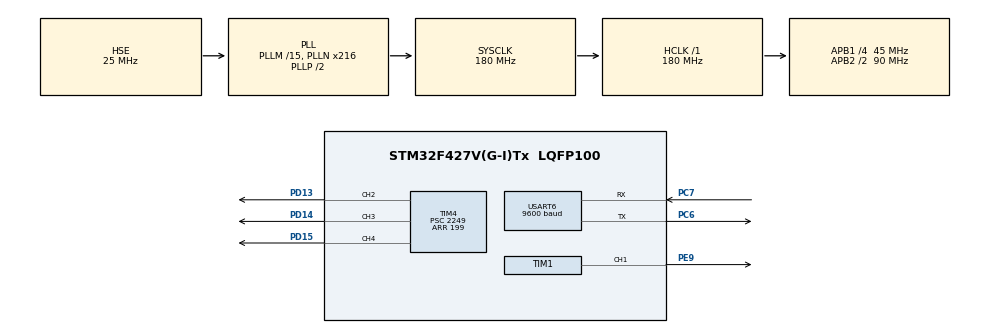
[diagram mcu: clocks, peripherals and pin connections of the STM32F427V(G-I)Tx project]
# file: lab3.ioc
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Mcu.Family=STM32F4
Mcu.Name=STM32F427V(G-I)Tx
Mcu.Package=LQFP100
NVIC.PriorityGroup=NVIC_PRIORITYGROUP_4
NVIC.TIM6_DAC_IRQn=true\:0\:0\:false\:false\:true\:true\:true\:true
NVIC.USART6_IRQn=true\:0\:0\:false\:false\:true\:true\:true\:true
PA13.Mode=JTAG_5_pins
PA13.Signal=SYS_JTMS-SWDIO
PA14.Mode=JTAG_5_pins
PA14.Signal=SYS_JTCK-SWCLK
PA15.Mode=JTAG_5_pins
PA15.Signal=SYS_JTDI
PB3.Mode=JTAG_5_pins
PB3.Signal=SYS_JTDO-SWO
PB4.Mode=JTAG_5_pins
PB4.Signal=SYS_JTRST
PC6.Mode=Asynchronous
PC6.Signal=USART6_TX
PC7.Mode=Asynchronous
PC7.Signal=USART6_RX
PD13.Signal=S_TIM4_CH2
PD14.Signal=S_TIM4_CH3
PD15.Signal=S_TIM4_CH4
PE9.Signal=S_TIM1_CH1
PH0/OSC_IN.Mode=HSE-External-Oscillator
PH0/OSC_IN.Signal=RCC_OSC_IN
PH1/OSC_OUT.Mode=HSE-External-Oscillator
PH1/OSC_OUT.Signal=RCC_OSC_OUT
ProjectManager.HeapSize=0x200
ProjectManager.StackSize=0x400
ProjectManager.TargetToolchain=STM32CubeIDE
RCC.48MHZClocksFreq_Value=90000000
RCC.AHBFreq_Value=180000000
RCC.APB1CLKDivider=RCC_HCLK_DIV4
RCC.APB1Freq_Value=45000000
RCC.APB1TimFreq_Value=90000000
RCC.APB2CLKDivider=RCC_HCLK_DIV2
RCC.APB2Freq_Value=90000000
RCC.APB2TimFreq_Value=180000000
RCC.CortexFreq_Value=180000000
RCC.HCLKFreq_Value=180000000
RCC.HSE_VALUE=25000000
RCC.HSI_VALUE=16000000
RCC.LSE_VALUE=32768
RCC.PLLM=15
RCC.PLLN=216
RCC.PLLSourceVirtual=RCC_PLLSOURCE_HSE
RCC.SYSCLKFreq_VALUE=180000000
RCC.SYSCLKSource=RCC_SYSCLKSOURCE_PLLCLK
RCC.VCOOutputFreq_Value=360000000
SH.S_TIM1_CH1.0=TIM1_CH1,PWM Generation1 CH1
SH.S_TIM4_CH2.0=TIM4_CH2,PWM Generation2 CH2
SH.S_TIM4_CH3.0=TIM4_CH3,PWM Generation3 CH3
SH.S_TIM4_CH4.0=TIM4_CH4,PWM Generation4 CH4
TIM1.Channel-PWM\ Generation1\ CH1=TIM_CHANNEL_1
TIM1.Period=153
TIM1.Prescaler=2249
TIM4.Channel-PWM\ Generation2\ CH2=TIM_CHANNEL_2
TIM4.Channel-PWM\ Generation3\ CH3=TIM_CHANNEL_3
TIM4.Channel-PWM\ Generation4\ CH4=TIM_CHANNEL_4
TIM4.Period=199
TIM4.Prescaler=2249
TIM6.Period=9999
TIM6.Prescaler=8999
USART6.BaudRate=9600
USART6.VirtualMode=VM_ASYNC
VP_TIM6_VS_ClockSourceINT.Mode=Enable_Timer
board=custom

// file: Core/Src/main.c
/* USER CODE BEGIN Header */
/**
  ******************************************************************************
  * @file           : main.c
  * @brief          : Main program body
  ******************************************************************************
  ** This notice applies to any and all portions of this file
  * that are not between comment pairs USER CODE BEGIN and
  * USER CODE END. Other portions of this file, whether
  * inserted by the user or by software development tools
  * are owned by their respective copyright owners.
  *
  * COPYRIGHT(c) 2019 STMicroelectronics
  *
  * Redistribution and use in source and binary forms, with or without modification,
  * are permitted provided that the following conditions are met:
  *   1. Redistributions of source code must retain the above copyright notice,
  *      this list of conditions and the following disclaimer.
  *   2. Redistributions in binary form must reproduce the above copyright notice,
  *      this list of conditions and the following disclaimer in the documentation
  *      and/or other materials provided with the distribution.
  *   3. Neither the name of STMicroelectronics nor the names of its contributors
  *      may be used to endorse or promote products derived from this software
  *      without specific prior written permission.
  *
  * THIS SOFTWARE IS PROVIDED BY THE COPYRIGHT HOLDERS AND CONTRIBUTORS "AS IS"
  * AND ANY EXPRESS OR IMPLIED WARRANTIES, INCLUDING, BUT NOT LIMITED TO, THE
  * IMPLIED WARRANTIES OF MERCHANTABILITY AND FITNESS FOR A PARTICULAR PURPOSE ARE
  * DISCLAIMED. IN NO EVENT SHALL THE COPYRIGHT HOLDER OR CONTRIBUTORS BE LIABLE
  * FOR ANY DIRECT, INDIRECT, INCIDENTAL, SPECIAL, EXEMPLARY, OR CONSEQUENTIAL
  * DAMAGES (INCLUDING, BUT NOT LIMITED TO, PROCUREMENT OF SUBSTITUTE GOODS OR
  * SERVICES; LOSS OF USE, DATA, OR PROFITS; OR BUSINESS INTERRUPTION) HOWEVER
  * CAUSED AND ON ANY THEORY OF LIABILITY, WHETHER IN CONTRACT, STRICT LIABILITY,
  * OR TORT (INCLUDING NEGLIGENCE OR OTHERWISE) ARISING IN ANY WAY OUT OF THE USE
  * OF THIS SOFTWARE, EVEN IF ADVISED OF THE POSSIBILITY OF SUCH DAMAGE.
  *
  ******************************************************************************
  */
/* USER CODE END Header */
#include "main.h"
#include "tim.h"
#include "usart.h"
#include "gpio.h"

/* USER CODE BEGIN Includes */
#include <string.h>
/* USER CODE END Includes */

/* USER CODE BEGIN PM */
#define PASS_LENGTH 8
#define MAX_WRONG_INPUTS 3
#define GREEN_LED_ID 13
#define YELLOW_LED_ID 14
#define RED_LED_ID 15
#define BUFFER_SIZE 64
#define ENTER_ASCII_CODE 13
/* USER CODE END PM */

/* USER CODE BEGIN PV */
 char sequence[9] = "123456789";
 int res[20] = {0};
 int currentInput = 0;
 _Bool gameLive;

 _Bool pollingTime = 0;
 _Bool interruptMode = 0;
 _Bool txBusy = 0;

 typedef struct {
     uint8_t data[BUFFER_SIZE];
     uint16_t head;
     uint16_t tail;
     uint16_t count;
 } FIFO_Buffer;

 FIFO_Buffer rxBuffer;
 FIFO_Buffer txBuffer;
 uint8_t rxByte;
/* USER CODE END PV */

void SystemClock_Config(void);
/* USER CODE BEGIN PFP */
void printRes();
void startGame();
void stopGame();
// static void MX_GPIO_Init(void);
// static void MX_USART6_UART_Init(void);
void txBufferStart(FIFO_Buffer *buf);
void processInputChar(char c);
/* USER CODE END PFP */

/* USER CODE BEGIN 0 */

void resetInput(uint32_t* currentInput, uint32_t* wrongInputs) {
	*currentInput = 0;
	*wrongInputs = 0;
}

void fifo_init(FIFO_Buffer *buf) {
  buf->head = 0;
  buf->tail = 0;
  buf->count = 0;
}

_Bool fifo_put(FIFO_Buffer *buf, uint8_t val) {
    if(buf->count >= BUFFER_SIZE) return 0;
    buf->data[buf->head++] = val;
    if(buf->head >= BUFFER_SIZE) buf->head = 0;
    buf->count++;
    return 1;
}

_Bool fifo_get(FIFO_Buffer *buf, uint8_t *val) {
    if(buf->count == 0) return 0;
    *val = buf->data[buf->tail++];
    if(buf->tail >= BUFFER_SIZE) buf->tail = 0;
    buf->count--;
    return 1;
}
void fifo_clear(FIFO_Buffer *buf) {
    buf->head = 0;
    buf->tail = 0;
    buf->count = 0;
}

void startUartIT(void) {
    fifo_init(&rxBuffer);
    HAL_UART_Receive_IT(&huart6, &rxByte, 1);

}

void HAL_UART_RxCpltCallback(UART_HandleTypeDef *huart) {
    fifo_put(&rxBuffer, rxByte);
    HAL_UART_Receive_IT(&huart6, &rxByte, 1);
}

void HAL_UART_TxCpltCallback(UART_HandleTypeDef *huart) {
    uint8_t c;
    if (huart->Instance == USART6) {
        if (fifo_get(&txBuffer, &c)) {
            HAL_UART_Transmit_IT(&huart6, &c, 1);
        } else {
            txBusy = 0;
        }
    }
}

void stopUartIT(void) {
    HAL_UART_Abort(&huart6);
    fifo_clear(&rxBuffer);
    HAL_GPIO_TogglePin(GPIOD, GPIO_PIN_13);
}
/* USER CODE END 0 */

int main(void)
{
  /* USER CODE BEGIN 1 */
	char in;
  uint32_t timeoutLimit = 2000;

  /* USER CODE END 1 */

  /* MCU Configuration--------------------------------------------------------*/

  /* Reset of all peripherals, Initializes the Flash interface and the Systick. */
  HAL_Init();

  /* Configure the system clock */
  SystemClock_Config();

  /* Initialize all configured peripherals */
  MX_GPIO_Init();
  MX_TIM6_Init();
  MX_TIM4_Init();
  MX_TIM1_Init();
  MX_USART6_UART_Init();
  /* USER CODE BEGIN 2 */
  HAL_TIM_Base_Stop(&htim6);
  HAL_TIM_Base_Start_IT(&htim6);
  startUartIT();

  char msg[] = "\r\Hello\r\n";
  for (size_t i = 0; i < strlen(msg); i++) {
      fifo_put(&txBuffer, msg[i]);
  }
  txBufferStart(&txBuffer);

  while (1) {

    uint8_t c;
    if (fifo_get(&rxBuffer, &c)) {
      processInputChar(c);
    }

  }

  /////////////////////////////////////
  if(interruptMode) {
      char msg[] = "Interrupt mode ON\r\n";
      for (size_t i = 0; i < strlen(msg); i++) {
    	  fifo_put(&txBuffer, msg[i]);
      }
      txBufferStart(&txBuffer);
  } else {
      char msg[] = "Polling mode ON\r\n";
      HAL_UART_Transmit(&huart6, (uint8_t*)msg, strlen(msg), 100);
  }

  /* USER CODE END 2 */

  /* Infinite loop */
  /* USER CODE BEGIN WHILE */
  while (1)
  {

	  static _Bool lastButtonState = 0;
	  _Bool currentButtonState = 1;

	   if (currentButtonState && !lastButtonState) {
	      interruptMode = !interruptMode;

		  if (interruptMode) {
			  startUartIT();
			  char msg[] = "\r\nSwitched to Interrupt mode\r\n";
			  for (size_t i = 0; i < strlen(msg); i++) {
			      fifo_put(&txBuffer, msg[i]);
			  }
			  txBufferStart(&txBuffer);
		  } else {
			  stopUartIT();
			  char msg[] = "\r\nSwitched to Polling mode\r\n";
			  HAL_UART_Transmit(&huart6, (uint8_t*)msg, strlen(msg), 100);
		  }
	  }
	  lastButtonState = currentButtonState;

	  if(interruptMode) {
		  uint8_t c;
		  if (fifo_get(&rxBuffer, &c)) {
			  fifo_put(&txBuffer, c);
			  txBufferStart(&txBuffer);
	          processInputChar(c);
		  }
	  } else {
		  HAL_StatusTypeDef status = HAL_UART_Receive(&huart6, (uint8_t*)&in, 1, timeoutLimit);
		  if (status == HAL_OK) {
			  HAL_UART_Transmit(&huart6, (uint8_t*)&in, 1, 100);
			  processInputChar(in);
		  }
	  }
  }
    /* USER CODE END WHILE */

}

void SystemClock_Config(void)
{
  RCC_OscInitTypeDef RCC_OscInitStruct = {0};
  RCC_ClkInitTypeDef RCC_ClkInitStruct = {0};

  /** Configure the main internal regulator output voltage
  */
  __HAL_RCC_PWR_CLK_ENABLE();
  __HAL_PWR_VOLTAGESCALING_CONFIG(PWR_REGULATOR_VOLTAGE_SCALE1);

  /** Initializes the RCC Oscillators according to the specified parameters
  * in the RCC_OscInitTypeDef structure.
  */
  RCC_OscInitStruct.OscillatorType = RCC_OSCILLATORTYPE_HSE;
  RCC_OscInitStruct.HSEState = RCC_HSE_ON;
  RCC_OscInitStruct.PLL.PLLState = RCC_PLL_ON;
  RCC_OscInitStruct.PLL.PLLSource = RCC_PLLSOURCE_HSE;
  RCC_OscInitStruct.PLL.PLLM = 15;
  RCC_OscInitStruct.PLL.PLLN = 216;
  RCC_OscInitStruct.PLL.PLLP = RCC_PLLP_DIV2;
  RCC_OscInitStruct.PLL.PLLQ = 4;
  if (HAL_RCC_OscConfig(&RCC_OscInitStruct) != HAL_OK)
  {
    Error_Handler();
  }

  /** Activate the Over-Drive mode
  */
  if (HAL_PWREx_EnableOverDrive() != HAL_OK)
  {
    Error_Handler();
  }

  /** Initializes the CPU, AHB and APB buses clocks
  */
  RCC_ClkInitStruct.ClockType = RCC_CLOCKTYPE_HCLK|RCC_CLOCKTYPE_SYSCLK
                              |RCC_CLOCKTYPE_PCLK1|RCC_CLOCKTYPE_PCLK2;
  RCC_ClkInitStruct.SYSCLKSource = RCC_SYSCLKSOURCE_PLLCLK;
  RCC_ClkInitStruct.AHBCLKDivider = RCC_SYSCLK_DIV1;
  RCC_ClkInitStruct.APB1CLKDivider = RCC_HCLK_DIV4;
  RCC_ClkInitStruct.APB2CLKDivider = RCC_HCLK_DIV2;

  if (HAL_RCC_ClockConfig(&RCC_ClkInitStruct, FLASH_LATENCY_5) != HAL_OK)
  {
    Error_Handler();
  }
}

/* USER CODE BEGIN 4 */
void processInputChar(char c) {
    if (c == 'a') {
      switchMode();
    }
    if (c == '+') {
    	increase_sound_length();
    }
    if (c == ENTER_ASCII_CODE) {
      if (gameLive) {
        stopGame();
      } else {
        startGame();
      }
    }

    if (c >= '1' && c <= '9') {
      if (gameLive) {
        res[currentInput] = (c == sequence[currentInput%9]) ? 2 : 1;
      } else {
        playSound(c - '0');
      }
    }
}

void startGame() {
  HAL_Delay(2500);
  memset(res, 0, sizeof(res));
  currentInput = 0;
  initCnt(&currentInput);
  __HAL_TIM_SET_COUNTER(&htim6, 0);
  HAL_TIM_Base_Start(&htim6);
}

void stopGame() {
  HAL_TIM_Base_Stop(&htim6);
  printRes();
}

void printRes() {
  char msg[] = "Your result: ";
  for (size_t i = 0; i < strlen(msg); i++) {
    fifo_put(&txBuffer, msg[i]);
  }
  for (size_t i = 0; i < 20; i++) {
    switch (res[i])
    {
      case (2): fifo_put(&txBuffer, '+'); fifo_put(&txBuffer, ' '); break;
      case (1): fifo_put(&txBuffer, '-'); fifo_put(&txBuffer, ' '); break;
      case (0): break;
      default:break;
    }
    fifo_put(&txBuffer, '\n');
  }
  txBufferStart(&txBuffer);

}

void txBufferStart(FIFO_Buffer *buf) {
    uint8_t c;
    if(!txBusy && fifo_get(buf, &c)) {
        txBusy = 1;
        HAL_UART_Transmit_IT(&huart6, &c, 1);
    }
}

/* USER CODE END 4 */

void Error_Handler(void)
{
}
